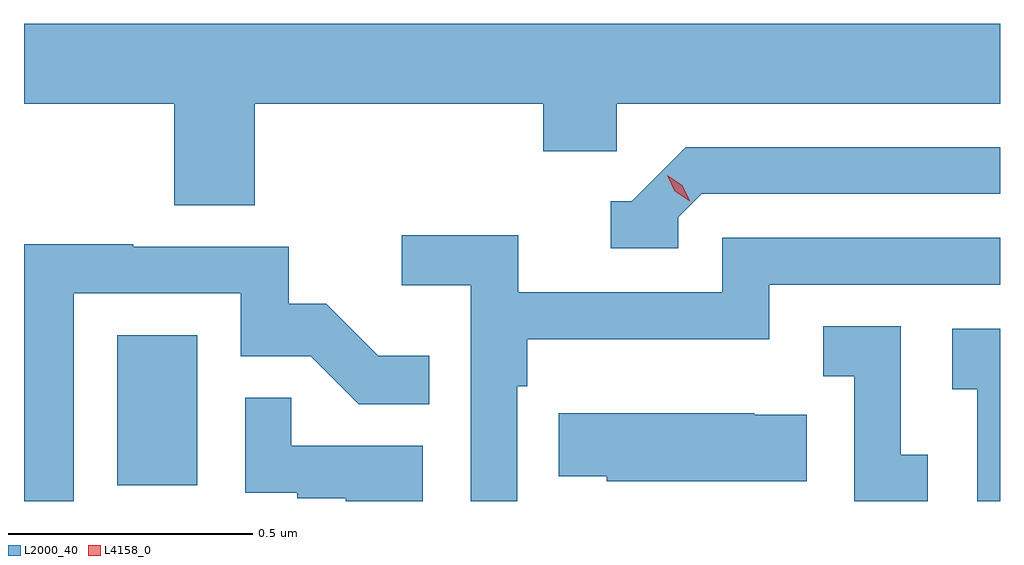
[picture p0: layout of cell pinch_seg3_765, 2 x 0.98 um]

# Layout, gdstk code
import gdstk
lib = gdstk.Library(unit=1e-6, precision=1e-09)
def R(c, l, rs):  # rectangles x0, y0, x1, y1
    for r in rs: c.add(gdstk.rectangle(r[:2], r[2:], *l))
def P(c, l, *ps):  # polygons
    for p in ps: c.add(gdstk.Polygon(p, *l))
L2000_40 = (2000, 40)
L4158_0 = (4158, 0)

pinch_seg3_765 = lib.new_cell('pinch_seg3_765')
R(pinch_seg3_765, L2000_40, [(832.652,729.438,832.816,729.745)])
P(pinch_seg3_765, L2000_40, [(832.934,730.22),(833.525,730.22),(833.525,730.122),(833.676,730.122),(833.676,730.22),(834.461,730.22),(834.461,730.384),(832.461,730.384),(832.461,730.22),(832.769,730.22),(832.769,730.012),(832.934,730.012)],
  [(833.802,729.987),(833.85,730.035),(834.461,730.035),(834.461,730.131),(833.817,730.131),(833.706,730.02),(833.663,730.02),(833.663,729.924),(833.802,729.924)],
  [(833.472,729.641),(833.492,729.641),(833.492,729.737),(833.988,729.737),(833.988,729.849),(834.461,729.849),(834.461,729.945),(833.892,729.945),(833.892,729.834),(833.474,729.834),(833.474,729.95),(833.235,729.95),(833.235,729.848),(833.376,729.848),(833.376,729.405),(833.472,729.405)],
  [(832.563,729.831),(832.905,729.831),(832.905,729.702),(833.049,729.702),(833.147,729.604),(833.291,729.604),(833.291,729.703),(833.187,729.703),(833.08,729.81),(833.004,729.81),(833.004,729.927),(832.685,729.927),(832.685,729.932),(832.461,729.932),(832.461,729.405),(832.563,729.405)],
  [(834.313,729.501),(834.258,729.501),(834.258,729.764),(834.099,729.764),(834.099,729.661),(834.162,729.661),(834.162,729.405),(834.313,729.405)],
  [(834.461,729.759),(834.363,729.759),(834.363,729.635),(834.414,729.635),(834.414,729.405),(834.461,729.405)],
  [(833.278,729.519),(833.009,729.519),(833.009,729.617),(832.914,729.617),(832.914,729.423),(833.021,729.423),(833.021,729.411),(833.12,729.411),(833.12,729.405),(833.278,729.405)],
  [(834.065,729.583),(833.957,729.583),(833.957,729.586),(833.557,729.586),(833.557,729.457),(833.655,729.457),(833.655,729.446),(834.065,729.446)])
P(pinch_seg3_765, L4158_0, [(833.825,730.02),(833.795,730.04),(833.779,730.073),(833.779,730.073),(833.779,730.073),(833.81,730.053),(833.825,730.021),(833.825,730.02)])

lib.write_gds('pinch_seg3_765.gds')
